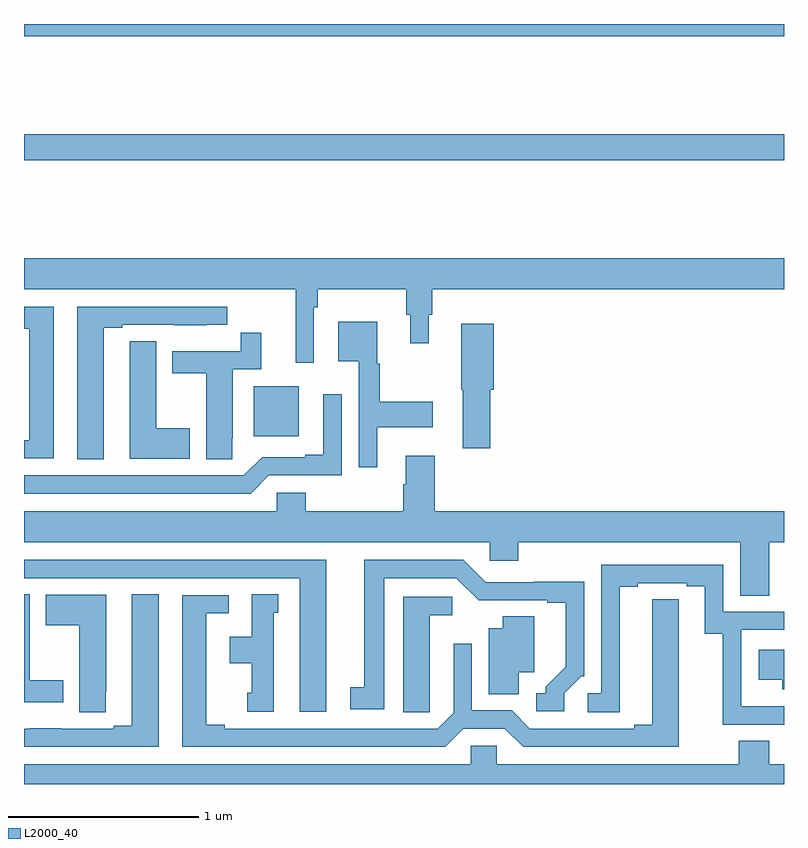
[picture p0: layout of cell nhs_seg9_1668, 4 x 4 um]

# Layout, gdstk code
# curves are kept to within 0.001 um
import gdstk
lib = gdstk.Library(unit=1e-6, precision=1e-09)
def R(c, l, rs):  # rectangles x0, y0, x1, y1
    for r in rs: c.add(gdstk.rectangle(r[:2], r[2:], *l))
def P(c, l, *ps):  # polygons
    for p in ps: c.add(gdstk.Polygon(p, *l))
L2000_40 = (2000, 40)

nhs_seg9_1668 = lib.new_cell('nhs_seg9_1668')
R(nhs_seg9_1668, L2000_40, [(206.21,1178.33,206.446,1178.593), (205,1179.784,209,1179.92), (205,1180.436,209,1180.5)])
P(nhs_seg9_1668, L2000_40, [(206.526,1179.008),(206.546,1179.008),(206.546,1179.104),(207.013,1179.104),(207.013,1178.97),(207.032,1178.97),(207.032,1178.82),(207.13,1178.82),(207.13,1178.97),(207.149,1178.97),(207.149,1179.104),(209,1179.104),(209,1179.268),(205,1179.268),(205,1179.104),(206.429,1179.104),(206.429,1178.718),(206.526,1178.718)],
  [(205.42,1178.901),(205.516,1178.901),(205.516,1178.916),(205.792,1178.916),(205.792,1178.915),(205.958,1178.915),(205.958,1178.916),(206.071,1178.916),(206.071,1179.012),(205.28,1179.012),(205.28,1178.209),(205.42,1178.209)],
  [(205.156,1179.012),(205,1179.012),(205,1178.896),(205.028,1178.896),(205.028,1178.31),(205,1178.31),(205,1178.214),(205.156,1178.214)],
  [(206.86,1178.378),(207.151,1178.378),(207.151,1178.513),(206.872,1178.513),(206.872,1178.712),(206.86,1178.712),(206.86,1178.932),(206.654,1178.932),(206.654,1178.726),(206.763,1178.726),(206.763,1178.166),(206.86,1178.166)],
  [(207.455,1178.574),(207.473,1178.574),(207.473,1178.923),(207.302,1178.923),(207.302,1178.574),(207.308,1178.574),(207.308,1178.268),(207.455,1178.268)],
  [(206.097,1178.32),(206.098,1178.32),(206.098,1178.682),(206.249,1178.682),(206.249,1178.875),(206.14,1178.875),(206.14,1178.778),(205.781,1178.778),(205.781,1178.662),(205.958,1178.662),(205.958,1178.209),(206.097,1178.209)],
  [(205.873,1178.373),(205.696,1178.373),(205.696,1178.831),(205.557,1178.831),(205.557,1178.723),(205.556,1178.723),(205.556,1178.213),(205.873,1178.213)],
  [(206.289,1178.124),(206.673,1178.124),(206.673,1178.551),(206.576,1178.551),(206.576,1178.233),(206.48,1178.233),(206.48,1178.22),(206.253,1178.22),(206.157,1178.124),(205,1178.124),(205,1178.028),(206.193,1178.028)],
  [(208.922,1177.772),(209,1177.772),(209,1177.936),(207.161,1177.936),(207.161,1178.227),(207.008,1178.227),(207.008,1178.078),(206.996,1178.078),(206.996,1177.936),(206.483,1177.936),(206.483,1178.034),(206.331,1178.034),(206.331,1177.936),(205,1177.936),(205,1177.772),(207.45,1177.772),(207.45,1177.674),(207.602,1177.674),(207.602,1177.772),(208.769,1177.772),(208.769,1177.492),(208.922,1177.492)],
  [(207.843,1176.978),(207.933,1177.068),(207.948,1177.068),(207.948,1177.565),(207.685,1177.565),(207.685,1177.563),(207.429,1177.563),(207.312,1177.68),(206.792,1177.68),(206.792,1177.01),(206.718,1177.01),(206.718,1176.894),(206.896,1176.894),(206.896,1177.584),(207.276,1177.584),(207.394,1177.466),(207.755,1177.467),(207.755,1177.455),(207.851,1177.455),(207.851,1177.118),(207.746,1177.013),(207.746,1176.978),(207.696,1176.978),(207.696,1176.882),(207.843,1176.882)],
  [(206.59,1177.68),(205,1177.68),(205,1177.584),(206.45,1177.584),(206.45,1176.879),(206.59,1176.879)],
  [(209,1176.909),(208.778,1176.909),(208.778,1176.91),(208.776,1176.91),(208.776,1177.311),(209,1177.311),(209,1177.407),(208.68,1177.407),(208.68,1177.653),(208.038,1177.653),(208.038,1176.978),(207.966,1176.978),(207.966,1176.877),(208.135,1176.877),(208.135,1177.537),(208.231,1177.537),(208.231,1177.557),(208.487,1177.557),(208.487,1177.542),(208.583,1177.542),(208.583,1177.291),(208.678,1177.291),(208.678,1176.813),(209,1176.813)],
  [(205.207,1177.047),(205.03,1177.047),(205.03,1177.499),(205,1177.499),(205,1176.93),(205.207,1176.93)],
  [(206.314,1177.401),(206.338,1177.401),(206.338,1177.499),(206.198,1177.499),(206.198,1177.276),(206.084,1177.276),(206.084,1177.136),(206.198,1177.136),(206.198,1176.981),(206.174,1176.981),(206.174,1176.879),(206.314,1176.879)],
  [(205.708,1177.499),(205.568,1177.499),(205.568,1176.807),(205.472,1176.807),(205.472,1176.792),(205.196,1176.792),(205.196,1176.793),(205.03,1176.793),(205.03,1176.792),(205,1176.792),(205,1176.696),(205.708,1176.696)],
  [(205.431,1176.985),(205.432,1176.985),(205.432,1177.495),(205.115,1177.495),(205.115,1177.336),(205.292,1177.336),(205.292,1176.877),(205.431,1176.877)],
  [(207.313,1176.792),(207.531,1176.792),(207.627,1176.696),(208.447,1176.696),(208.446,1177.472),(208.307,1177.472),(208.307,1176.812),(208.211,1176.812),(208.211,1176.792),(207.663,1176.792),(207.567,1176.888),(207.357,1176.888),(207.357,1177.237),(207.261,1177.237),(207.261,1176.876),(207.177,1176.792),(206.056,1176.792),(206.056,1176.812),(205.96,1176.812),(205.96,1177.398),(206.077,1177.398),(206.077,1177.494),(205.832,1177.494),(205.832,1176.696),(207.217,1176.696)],
  [(207.135,1176.985),(207.136,1176.985),(207.136,1177.388),(207.253,1177.388),(207.253,1177.485),(206.996,1177.485),(206.996,1176.877),(207.135,1176.877)],
  [(207.604,1177.088),(207.685,1177.088),(207.685,1177.382),(207.521,1177.382),(207.521,1177.321),(207.446,1177.321),(207.446,1176.973),(207.604,1176.973)],
  [(209,1177.207),(208.866,1177.207),(208.866,1177.049),(208.991,1177.049),(208.991,1176.998),(209,1176.998)],
  [(209,1176.604),(208.922,1176.604),(208.922,1176.728),(208.762,1176.728),(208.762,1176.604),(207.489,1176.604),(207.489,1176.702),(207.351,1176.702),(207.351,1176.604),(205,1176.604),(205,1176.5),(209,1176.5)])

lib.write_gds('nhs_seg9_1668.gds')
